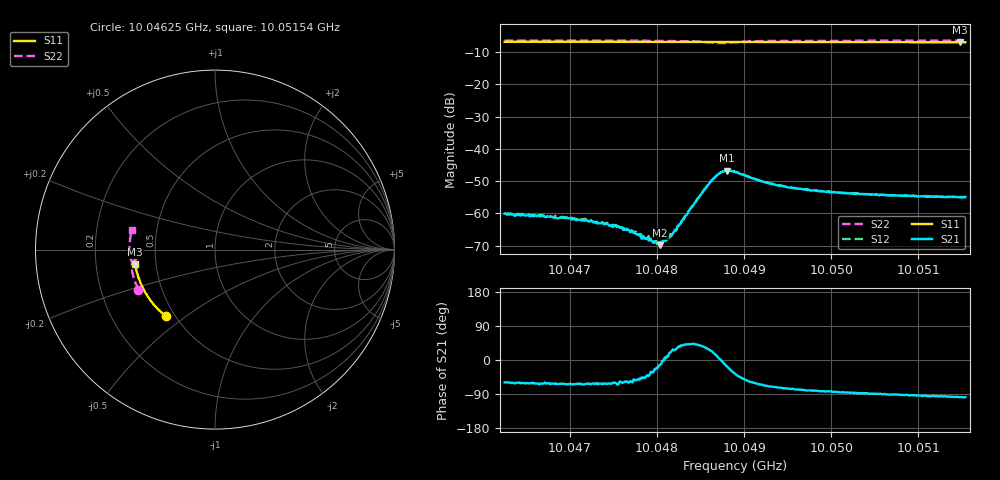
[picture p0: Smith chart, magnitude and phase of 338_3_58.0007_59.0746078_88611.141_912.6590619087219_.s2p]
#  HZ  S  RI  R  50.00
! Rohde & Schwarz Vector Network Analyzer
! Rohde-Schwarz,ZNB20-2Port,1311601062101988,3.16
! Created: UTC 3/21/2024, 1:05:24 AM
! freq[Hz]  re:S11  im:S11  re:S21  im:S21  re:S12  im:S12  re:S22  im:S22
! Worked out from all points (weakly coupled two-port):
!   401 points, 10.04625 GHz to 10.05154 GHz, reference 50 ohm
!   highest |S21| = -46.74 dB at 10.0488 GHz (marker M1); lowest = -69.9 dB at 10.04803 GHz (marker M2)
!   lowest |S11| = -6.9 dB at 10.05147 GHz (marker M3), VSWR 2.65, Z = 19 - j4.03 ohm
!   |S11| at or under -10 dB: nowhere
!   |S22| runs from -7.2 to -6.4 dB; largest |S21 - S12| = 0.0003
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1.004625e10  -0.2722 -0.3727  0.000506 -0.000846  0.000544 -0.000814  -0.4266 -0.2228
1.0046673e10  -0.2935 -0.3548  0.000427 -0.000814  0.000502 -0.000805  -0.4382 -0.197
1.0047136e10  -0.3158 -0.3338  0.000348 -0.000686  0.000407 -0.000692  -0.4493 -0.1676
1.0047532e10  -0.3337 -0.3146  0.0003 -0.000548  0.000343 -0.000555  -0.4572 -0.141
1.0047744e10  -0.3429 -0.3041  0.000304 -0.000417  0.000346 -0.000385  -0.4606 -0.1263
1.0047863e10  -0.3477 -0.2978  0.000286 -0.000301  0.000309 -0.000264  -0.4622 -0.1175
1.0048022e10  -0.3542 -0.2897  0.000328 -8.37e-05  0.000349 -6.3e-05  -0.4637 -0.1055
1.0048035e10  -0.3547 -0.289  0.000311 -7.09e-05  0.000354 -3.73e-05  -0.4639 -0.1045
1.0048101e10  -0.3574 -0.2857  0.000375 3.19e-05  0.000365 6.42e-05  -0.4641 -0.0993
1.0048194e10  -0.361 -0.2806  0.000468 0.000225  0.000466 0.000304  -0.4641 -0.0916
1.0048286e10  -0.3646 -0.2757  0.000603 0.000478  0.000578 0.00052  -0.4636 -0.0834
1.0048445e10  -0.3705 -0.2671  0.00113 0.000999  0.00109 0.00107  -0.459 -0.0689
1.0048617e10  -0.3767 -0.2576  0.00282 0.00128  0.0028 0.00146  -0.4439 -0.0576
1.0048709e10  -0.3797 -0.2526  0.00409 0.000332  0.00406 0.000581  -0.4338 -0.0621
1.0048802e10  -0.3829 -0.2476  0.0044 -0.00135  0.00447 -0.00111  -0.4341 -0.0732
1.0048894e10  -0.386 -0.2425  0.00352 -0.0026  0.00373 -0.0024  -0.4444 -0.0781
1.0049172e10  -0.3953 -0.2267  0.00141 -0.0029  0.00159 -0.00284  -0.4669 -0.0598
1.0049383e10  -0.4017 -0.2143  0.000804 -0.0026  0.000963 -0.00257  -0.4726 -0.0423
1.004978e10  -0.4128 -0.1907  0.000372 -0.00225  0.000475 -0.00222  -0.4762 -0.0122
1.0050666e10  -0.4323 -0.1358  -4.21e-05 -0.0019  5e-05 -0.0019  -0.4742 0.0492
1.0051472e10  -0.444 -0.0844  -0.00026 -0.00177  -0.000152 -0.00175  -0.4653 0.1024
1.0051539e10  -0.4449 -0.0804  -0.00025 -0.00178  -0.000162 -0.00177  -0.4643 0.1065
